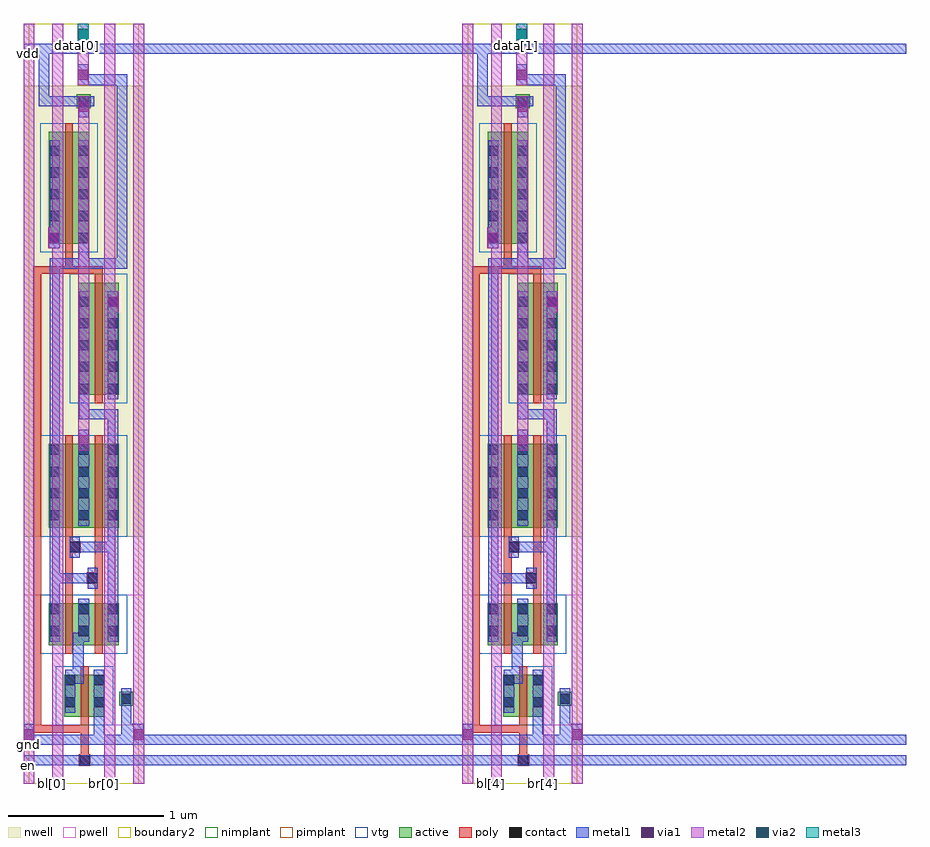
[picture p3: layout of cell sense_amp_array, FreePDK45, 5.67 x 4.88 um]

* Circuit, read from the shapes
.subckt sense_amp_array bl[0] bl[4] br[0] br[4] data[0] data[1] en gnd vdd
M1 n1 n2 data[0] gnd nfet w=0.27u l=0.05u
M2 gnd en n1 gnd nfet w=0.27u l=0.05u
M3 n2 data[0] n1 gnd nfet w=0.27u l=0.05u
M4 n3 n4 data[1] gnd nfet w=0.27u l=0.05u
M5 gnd en n3 gnd nfet w=0.27u l=0.05u
M6 n4 data[1] n3 gnd nfet w=0.27u l=0.05u
M7 vdd n2 data[0] vdd pfet w=0.54u l=0.05u
M8 data[0] en bl[0] vdd pfet w=0.72u l=0.05u
M9 n2 data[0] vdd vdd pfet w=0.54u l=0.05u
M10 br[0] en n2 vdd pfet w=0.72u l=0.05u
M11 vdd n4 data[1] vdd pfet w=0.54u l=0.05u
M12 data[1] en bl[4] vdd pfet w=0.72u l=0.05u
M13 n4 data[1] vdd vdd pfet w=0.54u l=0.05u
M14 br[4] en n4 vdd pfet w=0.72u l=0.05u
.ends

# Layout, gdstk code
import gdstk
lib = gdstk.Library(unit=1e-6, precision=5e-10)
def R(c, l, rs):  # rectangles x0, y0, x1, y1
    for r in rs: c.add(gdstk.rectangle(r[:2], r[2:], *l))
def A(c, l, x, y, w, h, nx, ny, dx, dy):  # array of equal rectangles
    R(c, l, [(x+i*dx, y+j*dy, x+i*dx+w, y+j*dy+h) for i in range(nx) for j in range(ny)])
active = (1, 0)
pwell = (2, 0)
nwell = (3, 0)
nimplant = (4, 0)
pimplant = (5, 0)
vtg = (6, 0)
poly = (9, 0)
contact = (10, 0)
metal1 = (11, 0)
via1 = (12, 0)
metal2 = (13, 0)
via2 = (14, 0)
metal3 = (15, 0)
boundary2 = (239, 0)

sense_amp = lib.new_cell('sense_amp')
R(sense_amp, active, [(0.2275,0.43,0.3025,0.7), (0.2275,0.43,0.3025,0.7), (0.2275,0.43,0.4875,0.7), (0.4125,0.43,0.4875,0.7), (0.4125,0.43,0.4875,0.7), (0.2275,0.485,0.3025,0.7), (0.4125,0.485,0.4875,0.7), (0.58,0.5,0.67,0.59), (0.1275,0.8875,0.2025,1.1575), (0.1275,0.8875,0.2025,1.1575), (0.1275,0.8875,0.3875,1.1575), (0.3125,0.8875,0.3875,1.1575), (0.3125,0.8875,0.3875,1.1575), (0.3175,0.8875,0.3925,1.1575), (0.3175,0.8875,0.3925,1.1575), (0.3175,0.8875,0.5775,1.1575), (0.5025,0.8875,0.5775,1.1575), (0.5025,0.8875,0.5775,1.1575), (0.1275,0.9425,0.2025,1.1575), (0.3125,0.9425,0.3875,1.1575), (0.3175,0.9425,0.3925,1.1575), (0.5025,0.9425,0.5775,1.1575), (0.1275,1.6425,0.2025,2.1825), (0.1275,1.6425,0.2025,2.1825), (0.1275,1.6425,0.3875,2.1825), (0.3125,1.6425,0.3875,2.1825), (0.3125,1.6425,0.3875,2.1825), (0.3175,1.6425,0.3925,2.1825), (0.3175,1.6425,0.3925,2.1825), (0.3175,1.6425,0.5775,2.1825), (0.5025,1.6425,0.5775,2.1825), (0.5025,1.6425,0.5775,2.1825), (0.1275,1.6875,0.2025,2.1825), (0.3125,1.6875,0.3875,2.1825), (0.3175,1.6875,0.3925,2.1825), (0.5025,1.6875,0.5775,2.1825), (0.3175,2.5,0.3925,3.22), (0.3175,2.5,0.3925,3.22), (0.3175,2.5,0.5775,3.22), (0.3175,2.5,0.3925,3.135), (0.5025,2.5,0.5775,3.22), (0.5025,2.5,0.5775,3.22), (0.5025,2.5,0.5775,3.135), (0.1275,3.47,0.2025,4.19), (0.1275,3.47,0.2025,4.19), (0.1275,3.47,0.3875,4.19), (0.1275,3.47,0.2025,4.105), (0.3125,3.47,0.3875,4.19), (0.3125,3.47,0.3875,4.19), (0.3125,3.47,0.3875,4.105), (0.3075,4.34,0.3975,4.43)])
R(sense_amp, pwell, [(-0.035,0.375,0.74,1.2125), (0.1725,0.375,0.5425,0.755), (0.525,0.445,0.725,0.645), (0.0725,0.8325,0.4425,1.2125), (0.2625,0.8325,0.6325,1.2125)])
R(sense_amp, nwell, [(-0.035,1.5875,0.74,4.485), (0.0725,1.5875,0.4425,2.2375), (0.2625,1.5875,0.6325,2.2375), (0.2625,2.445,0.6325,3.275), (0.0725,3.415,0.4425,4.245), (0.2525,4.285,0.4525,4.485)])
R(sense_amp, nimplant, [(0.2275,0.43,0.4875,0.7), (0.1275,0.8875,0.3875,1.1575), (0.3175,0.8875,0.5775,1.1575), (0.3075,4.34,0.3975,4.43)])
R(sense_amp, pimplant, [(0.58,0.5,0.67,0.59), (0.1275,1.6425,0.3875,2.1825), (0.3175,1.6425,0.5775,2.1825), (0.3175,2.5,0.5775,3.22), (0.1275,3.47,0.3875,4.19)])
R(sense_amp, vtg, [(0.1725,0.375,0.5425,0.755), (0.0725,0.8325,0.4425,1.2125), (0.2625,0.8325,0.6325,1.2125), (0.0725,1.5875,0.4425,2.2375), (0.2625,1.5875,0.6325,2.2375), (0.2625,2.445,0.6325,3.275), (0.0725,3.415,0.4425,4.245)])
R(sense_amp, poly, [(0.32,0.1125,0.395,0.1875), (0.3325,0.12,0.3825,0.325), (0.0275,0.325,0.3825,0.375), (0.0275,0.375,0.0775,3.275), (0.3325,0.375,0.3825,0.43), (0.3325,0.375,0.3825,0.755), (0.3325,0.7,0.3825,0.755), (0.2325,0.8325,0.2825,0.8875), (0.2325,0.8325,0.2825,1.2125), (0.4225,0.8325,0.4725,0.8875), (0.4225,0.8325,0.4725,1.2125), (0.2325,1.1575,0.2825,1.2125), (0.4225,1.1575,0.4725,1.2125), (0.2325,1.2125,0.2825,1.97), (0.4225,1.2125,0.4725,1.97), (0.3725,1.2825,0.4475,1.3575), (0.2575,1.4825,0.3325,1.5575), (0.2325,1.5875,0.2825,1.6425), (0.2325,1.5875,0.2825,2.2375), (0.4225,1.5875,0.4725,1.6425), (0.4225,1.5875,0.4725,2.2375), (0.2325,2.1825,0.2825,2.2375), (0.4225,2.1825,0.4725,2.2375), (0.4225,2.445,0.4725,3.275), (0.4225,2.445,0.4725,2.5), (0.4225,3.22,0.4725,3.275), (0.0275,3.275,0.4725,3.325), (0.2325,3.325,0.2825,3.415), (0.2325,3.415,0.2825,4.245), (0.2325,3.415,0.2825,3.47), (0.2325,4.19,0.2825,4.245)])
A(sense_amp, contact, 0.1325, 1.6925, 0.065, 0.065, 1, 4, 0, 0.14)
A(sense_amp, contact, 0.3175, 1.6925, 0.065, 0.065, 1, 4, 0, 0.14)
A(sense_amp, contact, 0.3225, 1.6925, 0.065, 0.065, 1, 4, 0, 0.14)
A(sense_amp, contact, 0.5075, 1.6925, 0.065, 0.065, 1, 4, 0, 0.14)
A(sense_amp, contact, 0.3225, 2.505, 0.065, 0.065, 1, 5, 0, 0.14)
A(sense_amp, contact, 0.5075, 2.505, 0.065, 0.065, 1, 5, 0, 0.14)
A(sense_amp, contact, 0.1325, 3.475, 0.065, 0.065, 1, 5, 0, 0.14)
A(sense_amp, contact, 0.3175, 3.475, 0.065, 0.065, 1, 5, 0, 0.14)
R(sense_amp, contact, [(0.325,0.1175,0.39,0.1825), (0.2325,0.49,0.2975,0.555), (0.4175,0.49,0.4825,0.555), (0.5925,0.5125,0.6575,0.5775), (0.2325,0.63,0.2975,0.695), (0.4175,0.63,0.4825,0.695), (0.1325,0.9475,0.1975,1.0125), (0.3175,0.9475,0.3825,1.0125), (0.3225,0.9475,0.3875,1.0125), (0.5075,0.9475,0.5725,1.0125), (0.1325,1.0875,0.1975,1.1525), (0.3175,1.0875,0.3825,1.1525), (0.3225,1.0875,0.3875,1.1525), (0.5075,1.0875,0.5725,1.1525), (0.3775,1.2875,0.4425,1.3525), (0.2625,1.4875,0.3275,1.5525), (0.32,4.3525,0.385,4.4175)])
R(sense_amp, metal1, [(-0.035,0.1175,0.74,0.1825), (-0.035,0.1175,0.74,0.1825), (0.23,0.1175,0.295,0.1825), (0.29,0.1175,0.425,0.1825), (-0.035,0.2475,0.74,0.3125), (-0.035,0.2475,0.74,0.3125), (-0.0325,0.2475,0.0325,0.3825), (0.27,0.2475,0.33,0.3125), (0.5925,0.2475,0.6575,0.4775), (0.6725,0.2475,0.7375,0.3825), (0.4175,0.3125,0.4825,0.465), (0.6575,0.3125,0.6725,0.3825), (0.2325,0.455,0.2975,0.73), (0.4175,0.455,0.4825,0.73), (0.5925,0.4775,0.6575,0.6125), (0.2825,0.6425,0.3525,0.97), (0.1325,0.9125,0.1975,1.1875), (0.3175,0.9125,0.3825,1.1875), (0.3225,0.9125,0.3875,1.1875), (0.5075,0.9125,0.5725,1.1875), (0.1325,1.1825,0.1975,2.05), (0.5075,1.1875,0.5725,2.05), (0.3775,1.2525,0.4425,1.3875), (0.1325,1.2875,0.4225,1.3525), (0.2625,1.4525,0.3275,1.5875), (0.2825,1.4875,0.5725,1.5525), (0.1325,1.6575,0.1975,2.2125), (0.3175,1.6575,0.3825,2.2125), (0.3225,1.6575,0.3875,2.2125), (0.5075,1.6575,0.5725,2.2125), (0.32,2.14,0.385,2.275), (0.5075,2.21,0.5725,2.405), (0.1325,2.2125,0.1975,3.31), (0.3225,2.34,0.3875,2.535), (0.3225,2.34,0.5725,2.405), (0.3225,2.47,0.3875,3.165), (0.5075,2.47,0.5725,3.165), (0.51,3.03,0.575,3.165), (0.1325,3.31,0.63,3.375), (0.32,3.31,0.385,3.5075), (0.565,3.31,0.63,4.5575), (0.1275,3.44,0.1925,3.575), (0.1325,3.44,0.1975,4.135), (0.3175,3.44,0.3825,4.135), (0.32,4.2825,0.385,4.4175), (0.0625,4.3525,0.42,4.4175), (0.285,4.3525,0.42,4.4175), (0.0625,4.4175,0.13,4.755), (0.3125,4.4875,0.63,4.5575), (0.315,4.4875,0.38,4.6225), (-0.035,4.69,0.74,4.755), (-0.035,4.69,0.74,4.755), (0.0625,4.69,0.13,4.755)])
R(sense_amp, via1, [(-0.0325,0.2825,0.0325,0.3475), (0.6725,0.2825,0.7375,0.3475), (0.32,2.175,0.385,2.24), (0.51,3.065,0.575,3.13), (0.1275,3.475,0.1925,3.54), (0.32,4.3175,0.385,4.3825), (0.315,4.5225,0.38,4.5875)])
R(sense_amp, metal2, [(-0.035,0,0.035,4.885), (0.15,0,0.22,4.885), (0.15,0,0.22,4.885), (0.485,0,0.555,3.545), (0.67,0,0.74,4.885), (-0.035,0.2475,0.035,0.3825), (0.67,0.2475,0.74,0.3825), (0.485,0.8,0.555,4.885), (0.485,0.8,0.555,4.885), (0.3175,2.14,0.3875,2.275), (0.3175,2.275,0.3875,4.285), (0.5075,3.03,0.5775,3.165), (0.125,3.44,0.195,3.575), (0.3175,4.2825,0.3875,4.4175), (0.3125,4.4875,0.3825,4.885), (0.3125,4.4875,0.3825,4.6225), (0.3125,4.745,0.3825,4.885), (0.15,4.825,0.22,4.885), (0.3125,4.83,0.3825,4.885), (0.49,4.835,0.55,4.885)])
R(sense_amp, via2, [(0.3125,4.78,0.3825,4.85)])
R(sense_amp, metal3, [(0.3125,4.745,0.3825,4.885), (0.3125,4.745,0.3825,4.885)])
R(sense_amp, boundary2, [(0,0,0.705,4.885)])
sense_amp.add(gdstk.Label('bl', (0.19,4.855), layer=13, texttype=0))
sense_amp.add(gdstk.Label('br', (0.52,4.862), layer=13, texttype=0))
sense_amp.add(gdstk.Label('w = 0.72', (0.4475,3.285), layer=230, texttype=0))
sense_amp.add(gdstk.Label('l = 0.05', (0.4825,2.86), layer=230, texttype=0))
sense_amp.add(gdstk.Label('w = 0.72', (0.2575,4.255), layer=230, texttype=0))
sense_amp.add(gdstk.Label('l = 0.05', (0.2925,3.83), layer=230, texttype=0))
sense_amp.add(gdstk.Label('w = 0.54', (0.4475,1.5775), layer=230, texttype=0))
sense_amp.add(gdstk.Label('l = 0.05', (0.4825,1.9125), layer=230, texttype=0))
sense_amp.add(gdstk.Label('w = 0.54', (0.2575,1.5775), layer=230, texttype=0))
sense_amp.add(gdstk.Label('l = 0.05', (0.2925,1.9125), layer=230, texttype=0))
sense_amp.add(gdstk.Label('w = 0.27', (0.3575,0.365), layer=230, texttype=0))
sense_amp.add(gdstk.Label('l = 0.05', (0.3925,0.565), layer=230, texttype=0))
sense_amp.add(gdstk.Label('w = 0.27', (0.2575,0.8225), layer=230, texttype=0))
sense_amp.add(gdstk.Label('l = 0.05', (0.2925,1.0225), layer=230, texttype=0))
sense_amp.add(gdstk.Label('w = 0.27', (0.4475,0.8225), layer=230, texttype=0))
sense_amp.add(gdstk.Label('l = 0.05', (0.4825,1.0225), layer=230, texttype=0))
sense_amp.add(gdstk.Label('dout', (0.347,4.862), layer=15, texttype=0))
sense_amp.add(gdstk.Label('vdd', (0.095,4.7225), layer=11, texttype=0))
sense_amp.add(gdstk.Label('en', (0.258,0.15), layer=11, texttype=0))
sense_amp.add(gdstk.Label('gnd', (0.3,0.275), layer=11, texttype=0))
sense_amp.add(gdstk.Label('en', (-0.035,0.1175), layer=11, texttype=0))
sense_amp.add(gdstk.Label('dout', (0.3125,4.745), layer=15, texttype=0))
sense_amp.add(gdstk.Label('br', (0.485,0.8), layer=13, texttype=0))
sense_amp.add(gdstk.Label('bl', (0.15,0), layer=13, texttype=0))
sense_amp.add(gdstk.Label('vdd', (-0.035,4.69), layer=11, texttype=0))
sense_amp.add(gdstk.Label('gnd', (-0.035,0.2475), layer=11, texttype=0))

sense_amp_array = lib.new_cell('sense_amp_array')
R(sense_amp_array, metal1, [(0,0.1175,5.64,0.1825), (0,0.2475,5.64,0.3125), (0,4.69,5.64,4.755)])
R(sense_amp_array, metal2, [(0.15,0,0.22,4.885), (0.485,0,0.555,4.085), (2.97,0,3.04,4.885), (3.305,0,3.375,4.085)])
R(sense_amp_array, metal3, [(0.3125,4.745,0.3825,4.885), (3.1325,4.745,3.2025,4.885)])
sense_amp_array.add(gdstk.Reference(sense_amp, (0,0)))
sense_amp_array.add(gdstk.Reference(sense_amp, (2.82,0)))
sense_amp_array.add(gdstk.Label('data[0]', (0.3125,4.745), layer=15, texttype=0))
sense_amp_array.add(gdstk.Label('data[1]', (3.1325,4.745), layer=15, texttype=0))
sense_amp_array.add(gdstk.Label('en', (0,0.1175), layer=11, texttype=0))
sense_amp_array.add(gdstk.Label('bl[0]', (0.15,0), layer=13, texttype=0))
sense_amp_array.add(gdstk.Label('bl[4]', (2.97,0), layer=13, texttype=0))
sense_amp_array.add(gdstk.Label('vdd', (0,4.69), layer=11, texttype=0))
sense_amp_array.add(gdstk.Label('gnd', (0,0.2475), layer=11, texttype=0))
sense_amp_array.add(gdstk.Label('br[0]', (0.485,0), layer=13, texttype=0))
sense_amp_array.add(gdstk.Label('br[4]', (3.305,0), layer=13, texttype=0))

lib.write_gds('sense_amp_array.gds')
